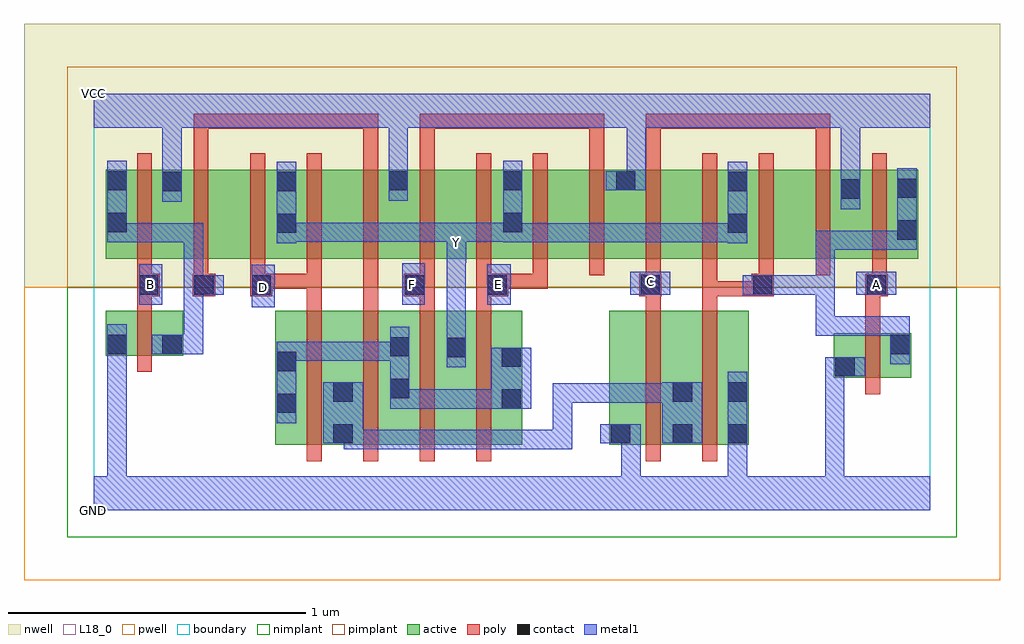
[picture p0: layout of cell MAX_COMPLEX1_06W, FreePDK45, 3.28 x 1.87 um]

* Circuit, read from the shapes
.subckt MAX_COMPLEX1_06W A B C D E F GND VCC Y
M1 n1 B GND VSUBS nfet w=0.15u l=0.05u
M2 n2 D n3 VSUBS nfet w=0.45u l=0.05u
M3 n3 n1 n2 VSUBS nfet w=0.45u l=0.05u
M4 Y F n3 VSUBS nfet w=0.45u l=0.05u
M5 n3 E Y VSUBS nfet w=0.45u l=0.05u
M6 n2 C GND VSUBS nfet w=0.45u l=0.05u
M7 GND n4 n2 VSUBS nfet w=0.45u l=0.05u
M8 n4 A GND VSUBS nfet w=0.15u l=0.05u
M9 VCC B n1 n5 pfet w=0.3u l=0.05u
M10 n6 n1 VCC n5 pfet w=0.3u l=0.05u
M11 Y D n6 n5 pfet w=0.3u l=0.05u
M12 n7 D Y n5 pfet w=0.3u l=0.05u
M13 VCC n1 n7 n5 pfet w=0.3u l=0.05u
M14 n8 F VCC n5 pfet w=0.3u l=0.05u
M15 Y E n8 n5 pfet w=0.3u l=0.05u
M16 n9 E Y n5 pfet w=0.3u l=0.05u
M17 VCC F n9 n5 pfet w=0.3u l=0.05u
M18 n10 C VCC n5 pfet w=0.3u l=0.05u
M19 Y n4 n10 n5 pfet w=0.3u l=0.05u
M20 n11 n4 Y n5 pfet w=0.3u l=0.05u
M21 VCC C n11 n5 pfet w=0.3u l=0.05u
M22 n4 A VCC n5 pfet w=0.3u l=0.05u
.ends

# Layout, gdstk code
import gdstk
lib = gdstk.Library(unit=1e-6, precision=1e-09)
def R(c, l, rs):  # rectangles x0, y0, x1, y1
    for r in rs: c.add(gdstk.rectangle(r[:2], r[2:], *l))
def A(c, l, x, y, w, h, nx, ny, dx, dy):  # array of equal rectangles
    R(c, l, [(x+i*dx, y+j*dy, x+i*dx+w, y+j*dy+h) for i in range(nx) for j in range(ny)])
active = (1, 0)
pwell = (2, 0)
nwell = (3, 0)
nimplant = (4, 0)
pimplant = (5, 0)
poly = (9, 0)
contact = (10, 0)
metal1 = (11, 0)
L18_0 = (18, 0)
boundary = (235, 0)

max_complex1_06w = lib.new_cell('MAX_COMPLEX1_06W')
A(max_complex1_06w, active, 0.61, 0.22, 0.265, 0.45, 3, 1, 0.19, 0)
R(max_complex1_06w, active, [(0.61,0.22,0.685,0.67), (0.8,0.22,0.875,0.542), (1.18,0.22,1.44,0.67), (1.732,0.22,1.807,0.67), (1.732,0.22,2.015,0.67), (1.94,0.22,2.2,0.67), (1.94,0.22,2.015,0.542), (2.125,0.22,2.2,0.67), (0.99,0.245,1.065,0.67), (1.18,0.245,1.255,0.67), (1.365,0.245,1.44,0.67), (2.487,0.445,2.562,0.595), (2.487,0.445,2.747,0.595), (2.672,0.445,2.747,0.595), (0.04,0.52,0.115,0.67), (0.04,0.52,0.3,0.67), (0.225,0.52,0.3,0.67), (0.04,0.845,0.115,1.145), (0.04,0.845,0.3,1.145), (0.225,0.845,0.3,1.145), (0.225,0.845,0.455,1.145), (0.455,0.845,0.685,1.145), (0.61,0.845,0.685,1.145), (0.61,0.845,0.835,1.145), (0.835,0.845,1.06,1.145), (0.985,0.845,1.215,1.145), (1.215,0.845,1.445,1.145), (1.37,0.845,1.445,1.145), (1.37,0.845,1.595,1.145), (1.595,0.845,1.825,1.145), (1.75,0.845,1.975,1.145), (1.975,0.845,2.2,1.145), (2.125,0.845,2.2,1.145), (2.125,0.845,2.355,1.145), (2.355,0.845,2.58,1.145), (2.505,0.845,2.77,1.145), (2.505,0.845,2.58,1.145), (2.695,0.845,2.77,1.12), (1.75,0.852,1.825,1.145), (0.985,0.887,1.06,1.145)])
R(max_complex1_06w, pwell, [(-0.235,-0.235,3.045,0.75)])
R(max_complex1_06w, nwell, [(-0.235,0.75,3.045,1.635)])
R(max_complex1_06w, nimplant, [(-0.09,-0.09,2.9,0.75)])
R(max_complex1_06w, pimplant, [(-0.09,0.75,2.9,1.49)])
A(max_complex1_06w, poly, 0.715, 0.165, 0.05, 0.56, 4, 1, 0.19, 0)
A(max_complex1_06w, poly, 0.905, 0.675, 0.05, 0.095, 3, 1, 0.19, 0)
A(max_complex1_06w, poly, 0.145, 0.745, 0.05, 0.095, 4, 1, 0.19, 0)
A(max_complex1_06w, poly, 1.095, 0.745, 0.05, 0.095, 3, 1, 0.19, 0)
A(max_complex1_06w, poly, 1.855, 0.745, 0.05, 0.095, 3, 1, 0.38, 0)
A(max_complex1_06w, poly, 0.145, 0.79, 0.05, 0.41, 14, 1, 0.19, 0)
R(max_complex1_06w, poly, [(1.855,0.165,1.905,0.725), (2.045,0.165,2.095,0.725), (2.592,0.39,2.642,0.65), (0.145,0.465,0.195,0.725), (2.592,0.6,2.642,0.77), (0.145,0.675,0.195,0.77), (0.715,0.675,0.765,0.795), (1.855,0.675,1.905,0.77), (2.045,0.675,2.095,0.77), (0.145,0.72,0.222,0.795), (0.332,0.72,0.407,0.795), (0.525,0.72,0.6,0.795), (0.905,0.72,0.955,0.77), (0.905,0.72,0.955,0.84), (1.042,0.72,1.145,0.795), (1.285,0.72,1.392,0.795), (1.832,0.72,1.907,0.795), (2.045,0.72,2.095,0.77), (2.045,0.72,2.095,0.77), (2.045,0.72,2.095,0.77), (2.045,0.72,2.26,0.77), (2.045,0.72,2.095,0.84), (2.21,0.72,2.285,0.795), (2.592,0.72,2.667,0.795), (0.55,0.745,0.765,0.795), (0.715,0.745,0.765,0.795), (0.715,0.745,0.765,0.795), (0.715,0.745,0.765,0.795), (1.342,0.745,1.45,0.795), (1.4,0.745,1.45,0.795), (1.4,0.745,1.525,0.795), (1.475,0.745,1.525,0.795), (0.335,1.15,0.385,1.332), (0.905,1.15,0.955,1.332), (1.095,1.15,1.145,1.332), (1.665,1.15,1.715,1.332), (1.855,1.15,1.905,1.332), (2.425,1.15,2.475,1.332), (0.335,1.282,0.385,1.332), (0.335,1.282,0.385,1.332), (0.335,1.282,0.385,1.332), (0.335,1.282,0.632,1.332), (0.582,1.282,0.632,1.332), (0.582,1.282,0.632,1.332), (0.582,1.282,0.632,1.332), (0.582,1.282,0.822,1.332), (0.772,1.282,0.822,1.332), (0.772,1.282,0.955,1.332), (0.905,1.282,0.955,1.332), (0.905,1.282,0.955,1.332), (0.905,1.282,0.955,1.332), (1.095,1.282,1.145,1.332), (1.095,1.282,1.145,1.332), (1.095,1.282,1.145,1.332), (1.095,1.282,1.392,1.332), (1.342,1.282,1.392,1.332), (1.342,1.282,1.392,1.332), (1.342,1.282,1.392,1.332), (1.342,1.282,1.582,1.332), (1.532,1.282,1.582,1.332), (1.532,1.282,1.582,1.332), (1.532,1.282,1.582,1.332), (1.532,1.282,1.715,1.332), (1.665,1.282,1.715,1.332), (1.855,1.282,1.905,1.332), (1.855,1.282,1.905,1.332), (1.855,1.282,1.905,1.332), (1.855,1.282,2.095,1.332), (2.045,1.282,2.095,1.332), (2.045,1.282,2.095,1.332), (2.045,1.282,2.095,1.332), (2.045,1.282,2.227,1.332), (2.177,1.282,2.475,1.332), (2.177,1.282,2.227,1.332), (2.177,1.282,2.227,1.332), (2.177,1.282,2.227,1.332), (2.425,1.282,2.475,1.332)])
R(max_complex1_06w, contact, [(0.805,0.225,0.87,0.29), (1.737,0.225,1.802,0.29), (1.945,0.225,2.01,0.29), (2.13,0.225,2.195,0.29), (0.615,0.327,0.68,0.392), (1.37,0.342,1.435,0.407), (0.805,0.365,0.87,0.43), (1.945,0.365,2.01,0.43), (2.13,0.365,2.195,0.43), (0.995,0.377,1.06,0.442), (2.492,0.45,2.557,0.515), (0.615,0.467,0.68,0.532), (1.37,0.482,1.435,0.547), (1.185,0.515,1.25,0.58), (0.995,0.517,1.06,0.582), (0.045,0.525,0.11,0.59), (0.23,0.525,0.295,0.59), (2.677,0.525,2.742,0.59), (0.152,0.725,0.217,0.79), (0.337,0.725,0.402,0.79), (0.53,0.725,0.595,0.79), (1.047,0.725,1.112,0.79), (1.322,0.725,1.387,0.79), (1.837,0.725,1.902,0.79), (2.215,0.725,2.28,0.79), (2.597,0.725,2.662,0.79), (2.7,0.91,2.765,0.975), (0.615,0.932,0.68,0.997), (2.13,0.932,2.195,0.997), (0.045,0.935,0.11,1), (1.375,0.935,1.44,1), (2.51,1.047,2.575,1.112), (2.7,1.05,2.765,1.115), (0.23,1.072,0.295,1.137), (0.615,1.072,0.68,1.137), (2.13,1.072,2.195,1.137), (0.045,1.075,0.11,1.14), (0.99,1.075,1.055,1.14), (1.375,1.075,1.44,1.14), (1.755,1.075,1.82,1.14)])
R(max_complex1_06w, metal1, [(0,0,2.81,0.115), (0.045,0.05,0.11,0.115), (0.045,0.05,0.11,0.115), (0.045,0.05,0.11,0.115), (0.045,0.05,0.11,0.115), (0.045,0.05,0.11,0.555), (1.772,0.05,1.837,0.115), (1.772,0.05,1.837,0.115), (1.772,0.05,1.837,0.29), (2.13,0.05,2.195,0.255), (2.457,0.05,2.522,0.115), (2.457,0.05,2.522,0.115), (2.457,0.05,2.522,0.515), (2.13,0.19,2.195,0.255), (2.13,0.19,2.195,0.255), (2.13,0.19,2.195,0.465), (0.84,0.205,1.112,0.27), (0.84,0.205,0.905,0.29), (1.047,0.205,1.112,0.27), (1.047,0.205,1.112,0.27), (1.047,0.205,1.112,0.27), (1.047,0.205,1.25,0.27), (1.185,0.205,1.25,0.27), (1.185,0.205,1.25,0.27), (1.185,0.205,1.25,0.27), (1.185,0.205,1.47,0.27), (1.405,0.205,1.47,0.27), (1.405,0.205,1.47,0.27), (1.405,0.205,1.47,0.27), (1.405,0.205,1.607,0.27), (1.542,0.205,1.607,0.27), (1.542,0.205,1.607,0.427), (0.77,0.225,0.905,0.43), (0.84,0.225,0.905,0.29), (1.702,0.225,1.837,0.29), (1.91,0.225,2.045,0.43), (0.615,0.292,0.68,0.567), (0.995,0.342,1.06,0.407), (0.995,0.342,1.06,0.407), (0.995,0.342,1.06,0.407), (0.995,0.342,1.06,0.407), (0.995,0.342,1.06,0.617), (0.995,0.342,1.262,0.407), (1.197,0.342,1.262,0.407), (1.197,0.342,1.262,0.407), (1.197,0.342,1.262,0.407), (1.197,0.342,1.4,0.407), (1.335,0.342,1.47,0.547), (1.542,0.362,1.607,0.427), (1.542,0.362,1.607,0.427), (1.542,0.362,1.607,0.427), (1.542,0.362,1.607,0.427), (1.542,0.362,1.607,0.427), (1.542,0.362,1.837,0.427), (1.772,0.362,1.837,0.427), (1.772,0.362,1.837,0.427), (1.772,0.362,1.837,0.427), (1.772,0.362,1.975,0.427), (2.457,0.45,2.522,0.515), (2.457,0.45,2.522,0.515), (2.457,0.45,2.522,0.515), (2.457,0.45,2.522,0.515), (2.457,0.45,2.592,0.515), (1.185,0.48,1.25,0.615), (0.045,0.49,0.11,0.555), (0.045,0.49,0.11,0.555), (0.045,0.49,0.11,0.625), (2.677,0.49,2.742,0.625), (0.615,0.502,0.68,0.567), (0.615,0.502,0.68,0.567), (0.615,0.502,0.817,0.567), (0.752,0.502,0.817,0.567), (0.752,0.502,0.817,0.567), (0.752,0.502,0.817,0.567), (0.752,0.502,1.06,0.567), (0.195,0.525,0.367,0.59), (0.302,0.525,0.367,0.79), (1.185,0.55,1.25,0.897), (2.677,0.56,2.742,0.625), (2.677,0.56,2.742,0.652), (2.425,0.587,2.49,0.652), (2.425,0.587,2.742,0.652), (2.425,0.587,2.49,0.79), (0.53,0.682,0.607,0.825), (0.152,0.69,0.23,0.827), (1.037,0.69,1.112,0.83), (1.322,0.69,1.4,0.827), (0.302,0.725,0.367,0.79), (0.302,0.725,0.367,0.79), (0.302,0.725,0.437,0.79), (0.302,0.725,0.367,0.965), (1.802,0.725,1.937,0.802), (2.18,0.725,2.315,0.79), (2.25,0.725,2.315,0.79), (2.25,0.725,2.315,0.79), (2.25,0.725,2.49,0.79), (2.425,0.725,2.49,0.79), (2.425,0.725,2.49,0.79), (2.425,0.725,2.49,0.79), (2.425,0.725,2.49,0.94), (2.562,0.725,2.697,0.802), (1.185,0.832,1.252,0.967), (2.425,0.875,2.49,0.94), (2.425,0.875,2.765,0.94), (2.7,0.875,2.765,0.94), (2.7,0.875,2.765,0.94), (2.7,0.875,2.765,1.15), (0.615,0.897,0.68,1.172), (2.13,0.897,2.195,1.172), (0.045,0.9,0.11,0.965), (0.045,0.9,0.11,0.965), (0.045,0.9,0.11,1.175), (0.045,0.9,0.367,0.965), (0.302,0.9,0.367,0.965), (1.375,0.9,1.44,0.965), (1.375,0.9,1.44,0.965), (1.375,0.9,1.44,1.175), (1.375,0.9,1.607,0.965), (1.542,0.9,1.607,0.965), (1.542,0.9,1.607,0.965), (1.542,0.9,1.607,0.965), (1.542,0.9,1.745,0.965), (1.68,0.9,1.745,0.965), (1.68,0.9,1.745,0.965), (1.68,0.9,1.745,0.965), (1.68,0.9,2.057,0.965), (1.992,0.9,2.057,0.965), (1.992,0.9,2.057,0.965), (1.992,0.9,2.057,0.965), (1.992,0.9,2.195,0.965), (0.615,0.902,0.68,0.967), (0.615,0.902,0.68,0.967), (0.615,0.902,0.817,0.967), (0.752,0.902,0.817,0.967), (0.752,0.902,0.817,0.967), (0.752,0.902,0.817,0.967), (0.752,0.902,1.112,0.967), (1.047,0.902,1.112,0.967), (1.047,0.902,1.112,0.967), (1.047,0.902,1.112,0.967), (1.047,0.902,1.25,0.967), (1.185,0.902,1.25,0.967), (1.185,0.902,1.25,0.967), (1.185,0.902,1.25,0.967), (1.185,0.902,1.25,0.967), (1.185,0.902,1.44,0.967), (2.51,1.012,2.575,1.147), (0.23,1.037,0.295,1.172), (0.99,1.04,1.055,1.175), (1.72,1.075,1.855,1.14), (1.79,1.075,1.855,1.35), (2.51,1.082,2.575,1.35), (0.23,1.107,0.295,1.35), (0.99,1.11,1.055,1.35), (0,1.285,2.81,1.4), (0.23,1.285,0.295,1.35), (0.23,1.285,0.295,1.35), (0.99,1.285,1.055,1.35), (0.99,1.285,1.055,1.35), (1.79,1.285,1.855,1.35), (1.79,1.285,1.855,1.35), (2.51,1.285,2.575,1.35), (2.51,1.285,2.575,1.35)])
R(max_complex1_06w, L18_0, [(0,0,2.81,0.115), (0.045,0.05,0.11,0.115), (0.045,0.05,0.11,0.115), (0.045,0.05,0.11,0.115), (0.045,0.05,0.11,0.115), (0.045,0.05,0.11,0.555), (1.772,0.05,1.837,0.115), (1.772,0.05,1.837,0.115), (1.772,0.05,1.837,0.29), (2.13,0.05,2.195,0.255), (2.457,0.05,2.522,0.115), (2.457,0.05,2.522,0.115), (2.457,0.05,2.522,0.515), (2.13,0.19,2.195,0.255), (2.13,0.19,2.195,0.255), (2.13,0.19,2.195,0.465), (1.702,0.225,1.837,0.29), (2.457,0.45,2.522,0.515), (2.457,0.45,2.522,0.515), (2.457,0.45,2.522,0.515), (2.457,0.45,2.522,0.515), (2.457,0.45,2.592,0.515), (1.185,0.48,1.25,0.615), (0.045,0.49,0.11,0.555), (0.045,0.49,0.11,0.555), (0.045,0.49,0.11,0.625), (1.185,0.55,1.25,0.897), (0.53,0.682,0.607,0.825), (0.152,0.69,0.23,0.827), (1.037,0.69,1.112,0.83), (1.322,0.69,1.4,0.827), (0.537,0.717,0.602,0.782), (1.802,0.725,1.937,0.802), (2.562,0.725,2.697,0.802), (0.157,0.727,0.222,0.792), (1.037,0.727,1.102,0.792), (1.327,0.727,1.392,0.792), (2.597,0.727,2.662,0.792), (1.837,0.737,1.902,0.802), (1.185,0.832,1.252,0.967), (1.187,0.867,1.252,0.932), (0.615,0.897,0.68,1.172), (2.13,0.897,2.195,1.172), (1.375,0.9,1.44,0.965), (1.375,0.9,1.44,0.965), (1.375,0.9,1.44,1.175), (1.375,0.9,1.607,0.965), (1.542,0.9,1.607,0.965), (1.542,0.9,1.607,0.965), (1.542,0.9,1.607,0.965), (1.542,0.9,1.745,0.965), (1.68,0.9,1.745,0.965), (1.68,0.9,1.745,0.965), (1.68,0.9,1.745,0.965), (1.68,0.9,2.057,0.965), (1.992,0.9,2.057,0.965), (1.992,0.9,2.057,0.965), (1.992,0.9,2.057,0.965), (1.992,0.9,2.195,0.965), (0.615,0.902,0.68,0.967), (0.615,0.902,0.68,0.967), (0.615,0.902,0.817,0.967), (0.752,0.902,0.817,0.967), (0.752,0.902,0.817,0.967), (0.752,0.902,0.817,0.967), (0.752,0.902,1.112,0.967), (1.047,0.902,1.112,0.967), (1.047,0.902,1.112,0.967), (1.047,0.902,1.112,0.967), (1.047,0.902,1.25,0.967), (1.185,0.902,1.25,0.967), (1.185,0.902,1.25,0.967), (1.185,0.902,1.25,0.967), (1.185,0.902,1.25,0.967), (1.185,0.902,1.44,0.967), (2.51,1.012,2.575,1.147), (0.23,1.037,0.295,1.172), (0.99,1.04,1.055,1.175), (1.72,1.075,1.855,1.14), (1.79,1.075,1.855,1.35), (2.51,1.082,2.575,1.35), (0.23,1.107,0.295,1.35), (0.99,1.11,1.055,1.35), (0,1.285,2.81,1.4), (0.23,1.285,0.295,1.35), (0.23,1.285,0.295,1.35), (0.99,1.285,1.055,1.35), (0.99,1.285,1.055,1.35), (1.79,1.285,1.855,1.35), (1.79,1.285,1.855,1.35), (2.51,1.285,2.575,1.35), (2.51,1.285,2.575,1.35)])
R(max_complex1_06w, boundary, [(0,0,2.81,1.4)])
max_complex1_06w.add(gdstk.Label('A', (2.63,0.76), layer=11, texttype=0))
max_complex1_06w.add(gdstk.Label('B', (0.19,0.76), layer=11, texttype=0))
max_complex1_06w.add(gdstk.Label('C', (1.87,0.77), layer=11, texttype=0))
max_complex1_06w.add(gdstk.Label('D', (0.57,0.75), layer=11, texttype=0))
max_complex1_06w.add(gdstk.Label('E', (1.36,0.76), layer=11, texttype=0))
max_complex1_06w.add(gdstk.Label('F', (1.07,0.76), layer=11, texttype=0))
max_complex1_06w.add(gdstk.Label('Y', (1.22,0.9), layer=11, texttype=0))
max_complex1_06w.add(gdstk.Label('VCC', (0,1.4), layer=11, texttype=0))
max_complex1_06w.add(gdstk.Label('GND', (0,0), layer=11, texttype=0))

lib.write_gds('MAX_COMPLEX1_06W.gds')
